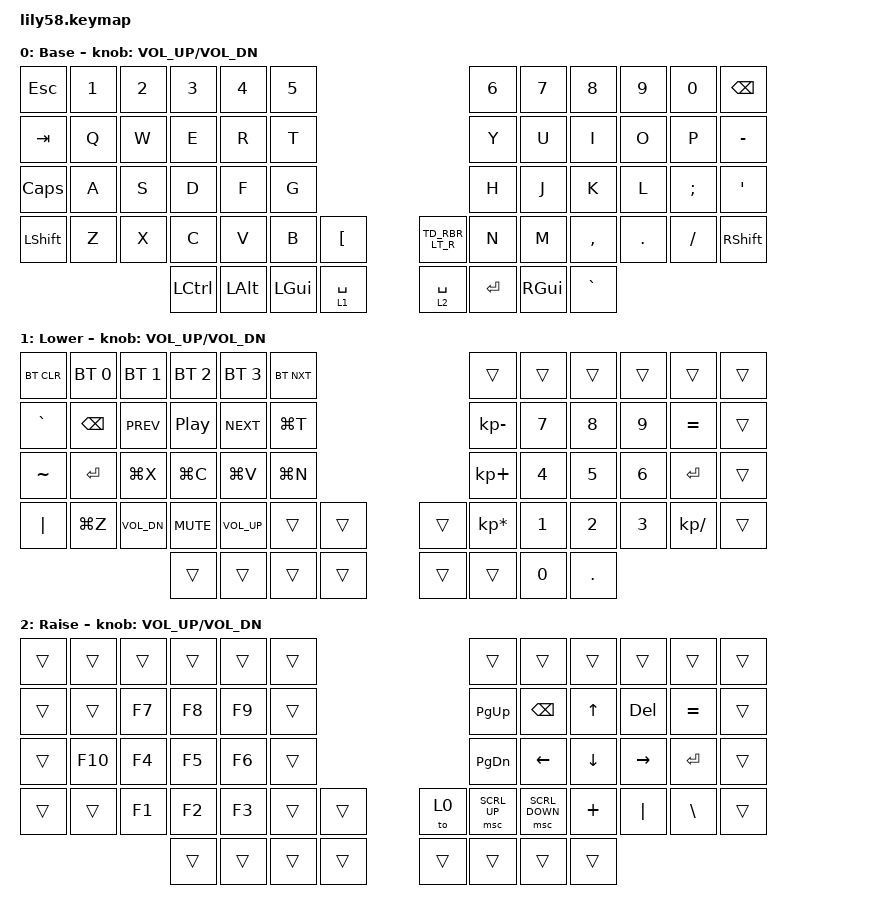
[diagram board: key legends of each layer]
/*
 * Copyright (c) 2020 The ZMK Contributors
 *
 * SPDX-License-Identifier: MIT
 */

#include <behaviors.dtsi>
#include <dt-bindings/zmk/bt.h>
#include <dt-bindings/zmk/keys.h>
#include <dt-bindings/zmk/pointing.h>

/ {
    behaviors {
        HT_LAYER2: HT_LAYER2 {
            compatible = "zmk,behavior-hold-tap";
            label = "HT_LAYER2";
            bindings = <&mo>, <&tog>;

            #binding-cells = <2>;
            tapping-term-ms = <200>;
            flavor = "tap-preferred";
            quick-tap-ms = <0>;
        };

        HT_L_KP_2: HT_L_KP_2 {
            compatible = "zmk,behavior-hold-tap";
            label = "HT_L_KP_2";
            bindings = <&mo>, <&kp>;

            #binding-cells = <2>;
            tapping-term-ms = <200>;
            quick-tap-ms = <0>;
            flavor = "tap-preferred";
        };

        HT_KP_LT_2: HT_KP_LT_2 {
            compatible = "zmk,behavior-hold-tap";
            label = "HT_KP_LT_2";
            bindings = <&kp>, <&tog>;

            #binding-cells = <2>;
            tapping-term-ms = <200>;
            flavor = "tap-preferred";
            quick-tap-ms = <0>;
        };

        TD_LCTRL_CAPS: TD_LCTRL_CAPS {
            compatible = "zmk,behavior-tap-dance";
            label = "TD_LCTRL_CAPS";
            #binding-cells = <0>;
            bindings = <&kp LCTRL>, <&kp CAPS>;
        };

        TD_RBR_LT_R: TD_RBR_LT_R {
            compatible = "zmk,behavior-tap-dance";
            label = "TD_RBR_LT_R";
            #binding-cells = <0>;
            bindings = <&kp RIGHT_BRACKET>, <&tog 2>;
        };
    };

    keymap {
        compatible = "zmk,keymap";

        default_layer {
            // ------------------------------------------------------------------------------------------------------------
            // |  ESC  |  1  |  2  |  3   |  4   |  5   |                   |  6   |  7    |  8    |  9   |   0   |   `   |
            // |  TAB  |  Q  |  W  |  E   |  R   |  T   |                   |  Y   |  U    |  I    |  O   |   P   |   -   |
            // |  CTRL |  A  |  S  |  D   |  F   |  G   |                   |  H   |  J    |  K    |  L   |   ;   |   '   |
            // | SHIFT |  Z  |  X  |  C   |  V   |  B   |   "["  |  |  "]"  |  N   |  M    |  ,    |  .   |   /   | SHIFT |
            //                     | ALT  | GUI  | LOWER|  SPACE |  | ENTER | RAISE| BSPC  | GUI   |

            display-name = "Base";
            bindings = <
&kp ESC    &kp N1  &kp N2  &kp N3     &kp N4    &kp N5                                              &kp N6   &kp N7    &kp N8     &kp N9   &kp N0    &kp BACKSPACE
&kp TAB    &kp Q   &kp W   &kp E      &kp R     &kp T                                               &kp Y    &kp U     &kp I      &kp O    &kp P     &kp MINUS
&kp CAPS   &kp A   &kp S   &kp D      &kp F     &kp G                                               &kp H    &kp J     &kp K      &kp L    &kp SEMI  &kp SQT
&kp LSHFT  &kp Z   &kp X   &kp C      &kp V     &kp B     &kp LBKT              &TD_RBR_LT_R        &kp N    &kp M     &kp COMMA  &kp DOT  &kp FSLH  &kp RSHFT
                           &kp LCTRL  &kp LALT  &kp LGUI  &HT_L_KP_2 1 SPACE    &HT_L_KP_2 2 SPACE  &kp RET  &kp RGUI  &kp GRAVE
            >;

            sensor-bindings = <&inc_dec_kp C_VOL_UP C_VOL_DN>;
        };

        lower_layer {
            // ------------------------------------------------------------------------------------------------------------
            // | BTCLR | BT1 | BT2 |  BT3 |  BT4 |  BT5 |                   |      |       |       |      |       |       |
            // |  F1   |  F2 |  F3 |  F4  |  F5  |  F6  |                   |  F7  |  F8   |  F9   |  F10 |  F11  |  F12  |
            // |   `   |  !  |  @  |  #   |  $   |  %   |                   |  ^   |  &    |  *    |  (   |   )   |   ~   |
            // |       |     |     |      |      |      |        |  |       |      |  _    |  +    |  {   |   }   |  "|"  |
            //                     |      |      |      |        |  |       |      |       |       |

            display-name = "Lower";
            bindings = <
&bt BT_CLR  &bt BT_SEL 0   &bt BT_SEL 1  &bt BT_SEL 2      &bt BT_SEL 3  &bt BT_NXT                    &trans           &trans        &trans        &trans        &trans         &trans
&kp GRAVE   &kp BACKSPACE  &kp C_PREV    &kp C_PLAY_PAUSE  &kp C_NEXT    &kp LG(T)                     &kp KP_MINUS     &kp NUMBER_7  &kp NUMBER_8  &kp NUMBER_9  &kp EQUAL      &trans
&kp TILDE   &kp ENTER      &kp LG(X)     &kp LG(C)         &kp LG(V)     &kp LG(N)                     &kp KP_PLUS      &kp NUMBER_4  &kp NUMBER_5  &kp NUMBER_6  &kp ENTER      &trans
&kp PIPE    &kp LG(Z)      &kp C_VOL_DN  &kp C_MUTE        &kp C_VOL_UP  &trans      &trans    &trans  &kp KP_MULTIPLY  &kp NUMBER_1  &kp NUMBER_2  &kp NUMBER_3  &kp KP_DIVIDE  &trans
                                         &trans            &trans        &trans      &trans    &trans  &trans           &kp NUMBER_0  &kp PERIOD
            >;

            sensor-bindings = <&inc_dec_kp C_VOL_UP C_VOL_DN>;
        };

        raise_layer {
            // ------------------------------------------------------------------------------------------------------------
            // |       |     |     |      |      |      |                   |      |       |       |      |       |       |
            // |   `   |  1  |  2  |  3   |  4   |  5   |                   |  6   |   7   |   8   |  9   |   0   |       |
            // |   F1  |  F2 |  F3 |  F4  |  F5  |  F6  |                   |      |   <-  |   v   |  ^   |  ->   |       |
            // |   F7  |  F8 |  F9 |  F10 |  F11 |  F12 |        |  |       |  +   |   -   |   =   |  [   |   ]   |   \   |
            //                     |      |      |      |        |  |       |      |       |       |

            display-name = "Raise";
            bindings = <
&trans  &trans   &trans  &trans  &trans  &trans                    &trans         &trans          &trans    &trans     &trans         &trans
&trans  &trans   &kp F7  &kp F8  &kp F9  &trans                    &kp PAGE_UP    &kp BACKSPACE   &kp UP    &kp DEL    &kp EQUAL      &trans
&trans  &kp F10  &kp F4  &kp F5  &kp F6  &trans                    &kp PAGE_DOWN  &kp LEFT        &kp DOWN  &kp RIGHT  &kp RET        &trans
&trans  &trans   &kp F1  &kp F2  &kp F3  &trans  &trans    &to 0   &msc SCRL_UP   &msc SCRL_DOWN  &kp PLUS  &kp PIPE   &kp BACKSLASH  &trans
                         &trans  &trans  &trans  &trans    &trans  &trans         &trans          &trans
            >;

            sensor-bindings = <&inc_dec_kp C_VOL_UP C_VOL_DN>;
        };

        extra_1 { status = "reserved"; };

        extra_2 { status = "reserved"; };

        extra_3 { status = "reserved"; };
    };
};
